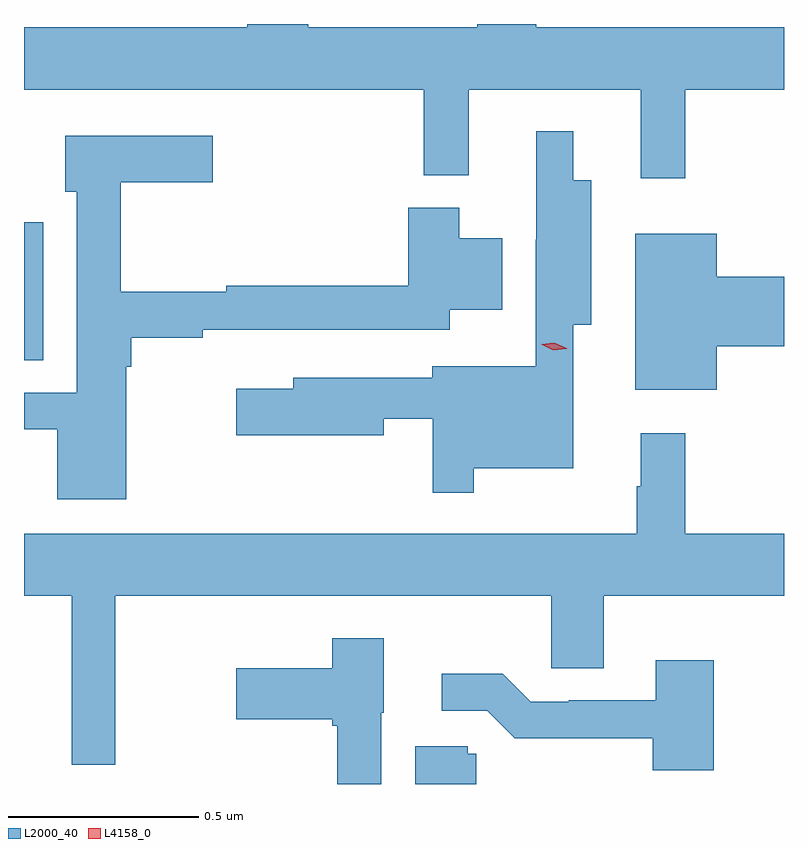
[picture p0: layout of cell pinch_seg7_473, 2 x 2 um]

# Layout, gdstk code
import gdstk
lib = gdstk.Library(unit=1e-6, precision=1e-09)
def R(c, l, rs):  # rectangles x0, y0, x1, y1
    for r in rs: c.add(gdstk.rectangle(r[:2], r[2:], *l))
def P(c, l, *ps):  # polygons
    for p in ps: c.add(gdstk.Polygon(p, *l))
L2000_40 = (2000, 40)
L4158_0 = (4158, 0)

pinch_seg7_473 = lib.new_cell('pinch_seg7_473')
R(pinch_seg7_473, L2000_40, [(339.269,1055.848,339.319,1056.211)])
P(pinch_seg7_473, L2000_40, [(341.009,1056.56),(341.269,1056.56),(341.269,1056.724),(340.617,1056.724),(340.617,1056.733),(340.462,1056.733),(340.462,1056.724),(340.017,1056.724),(340.017,1056.733),(339.857,1056.733),(339.857,1056.724),(339.269,1056.724),(339.269,1056.56),(340.321,1056.56),(340.321,1056.335),(340.439,1056.335),(340.439,1056.56),(340.892,1056.56),(340.892,1056.327),(341.009,1056.327)],
  [(340.453,1055.564),(340.714,1055.564),(340.714,1055.942),(340.762,1055.942),(340.762,1056.322),(340.715,1056.322),(340.715,1056.451),(340.617,1056.451),(340.617,1056.165),(340.616,1056.165),(340.616,1055.833),(340.343,1055.833),(340.343,1055.802),(339.977,1055.802),(339.977,1055.773),(339.828,1055.773),(339.828,1055.651),(340.216,1055.651),(340.216,1055.694),(340.344,1055.694),(340.344,1055.499),(340.453,1055.499)],
  [(339.538,1055.831),(339.551,1055.831),(339.551,1055.908),(339.74,1055.908),(339.74,1055.928),(340.389,1055.928),(340.389,1055.981),(340.528,1055.981),(340.528,1056.169),(340.414,1056.169),(340.414,1056.25),(340.28,1056.25),(340.28,1056.044),(339.801,1056.044),(339.801,1056.029),(339.524,1056.029),(339.524,1056.317),(339.766,1056.317),(339.766,1056.439),(339.377,1056.439),(339.377,1056.291),(339.408,1056.291),(339.408,1055.763),(339.269,1055.763),(339.269,1055.667),(339.356,1055.667),(339.356,1055.483),(339.538,1055.483)],
  [(341.092,1055.885),(341.269,1055.885),(341.269,1056.068),(341.092,1056.068),(341.092,1056.181),(340.877,1056.181),(340.877,1055.771),(341.092,1055.771)],
  [(339.509,1055.228),(340.656,1055.228),(340.656,1055.038),(340.795,1055.038),(340.795,1055.228),(341.269,1055.228),(341.269,1055.392),(341.009,1055.392),(341.009,1055.656),(340.892,1055.656),(340.892,1055.516),(340.881,1055.516),(340.881,1055.392),(339.269,1055.392),(339.269,1055.228),(339.395,1055.228),(339.395,1054.784),(339.509,1054.784)],
  [(340.209,1054.92),(340.216,1054.92),(340.216,1055.116),(340.08,1055.116),(340.08,1055.038),(339.828,1055.038),(339.828,1054.904),(340.08,1054.904),(340.08,1054.886),(340.093,1054.886),(340.093,1054.733),(340.209,1054.733)],
  [(341.084,1055.059),(340.931,1055.059),(340.931,1054.953),(340.702,1054.953),(340.702,1054.95),(340.602,1054.95),(340.529,1055.023),(340.368,1055.023),(340.368,1054.926),(340.488,1054.926),(340.561,1054.853),(340.66,1054.853),(340.66,1054.854),(340.924,1054.854),(340.924,1054.769),(341.084,1054.769)],
  [(340.459,1054.812),(340.437,1054.812),(340.437,1054.833),(340.298,1054.833),(340.298,1054.733),(340.459,1054.733)])
P(pinch_seg7_473, L4158_0, [(340.662,1055.875),(340.63,1055.89),(340.63,1055.89),(340.63,1055.89),(340.665,1055.894),(340.697,1055.88),(340.697,1055.879),(340.697,1055.879)])

lib.write_gds('pinch_seg7_473.gds')
